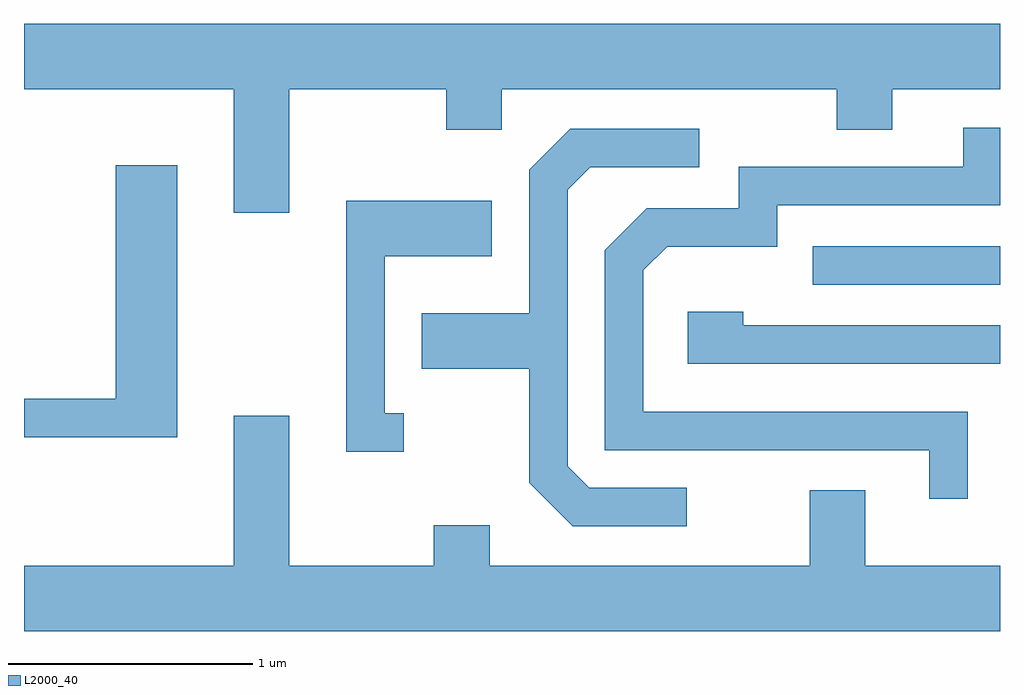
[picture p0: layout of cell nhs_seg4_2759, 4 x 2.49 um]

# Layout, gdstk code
import gdstk
lib = gdstk.Library(unit=1e-6, precision=1e-09)
def R(c, l, rs):  # rectangles x0, y0, x1, y1
    for r in rs: c.add(gdstk.rectangle(r[:2], r[2:], *l))
def P(c, l, *ps):  # polygons
    for p in ps: c.add(gdstk.Polygon(p, *l))
L2000_40 = (2000, 40)

nhs_seg4_2759 = lib.new_cell('nhs_seg4_2759')
R(nhs_seg4_2759, L2000_40, [(268.843,1333.896,269.611,1334.054)])
P(nhs_seg4_2759, L2000_40, [(266.699,1334.696),(267.341,1334.696),(267.341,1334.531),(267.569,1334.531),(267.569,1334.696),(268.941,1334.696),(268.941,1334.531),(269.169,1334.531),(269.169,1334.696),(269.611,1334.696),(269.611,1334.964),(265.611,1334.964),(265.611,1334.696),(266.471,1334.696),(266.471,1334.191),(266.699,1334.191)],
  [(269.479,1333.374),(268.149,1333.374),(268.149,1333.954),(268.247,1334.051),(268.699,1334.051),(268.699,1334.221),(269.611,1334.221),(269.611,1334.539),(269.461,1334.539),(269.461,1334.379),(268.541,1334.379),(268.541,1334.209),(268.164,1334.209),(267.991,1334.037),(267.991,1333.216),(269.321,1333.216),(269.321,1333.018),(269.479,1333.018)],
  [(268.328,1333.064),(267.927,1333.064),(267.839,1333.152),(267.839,1334.284),(267.932,1334.376),(268.378,1334.376),(268.378,1334.534),(267.849,1334.534),(267.681,1334.367),(267.681,1333.779),(267.241,1333.779),(267.241,1333.551),(267.681,1333.551),(267.681,1333.084),(267.859,1332.906),(268.328,1332.906)],
  [(266.239,1334.384),(265.986,1334.384),(265.986,1333.429),(265.611,1333.429),(265.611,1333.271),(266.239,1333.271)],
  [(267.168,1333.369),(267.089,1333.369),(267.089,1334.011),(267.529,1334.011),(267.529,1334.239),(266.931,1334.239),(266.931,1333.211),(267.168,1333.211)],
  [(269.611,1333.729),(268.559,1333.729),(268.559,1333.784),(268.331,1333.784),(268.331,1333.571),(269.611,1333.571)],
  [(269.611,1332.744),(269.059,1332.744),(269.059,1333.054),(268.831,1333.054),(268.831,1332.744),(267.519,1332.744),(267.519,1332.909),(267.291,1332.909),(267.291,1332.744),(266.699,1332.744),(266.699,1333.359),(266.471,1333.359),(266.471,1332.744),(265.611,1332.744),(265.611,1332.476),(269.611,1332.476)])

lib.write_gds('nhs_seg4_2759.gds')
